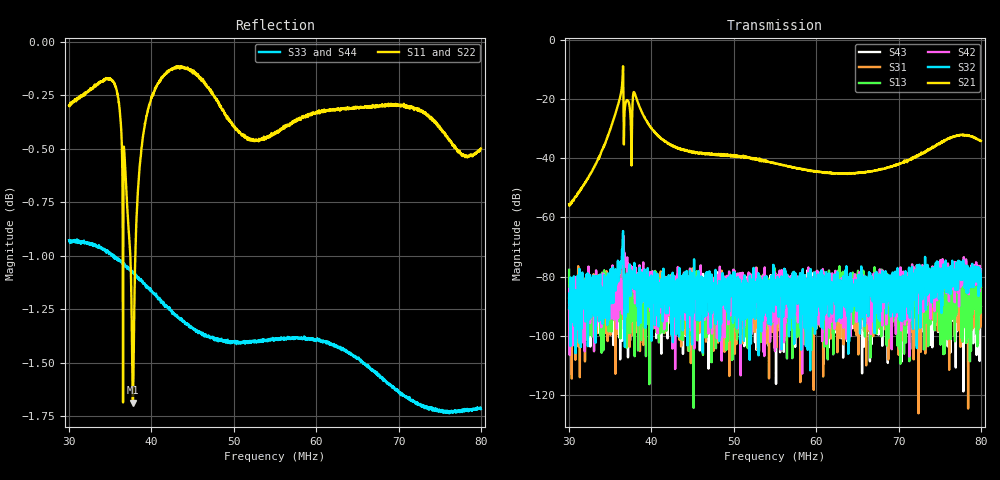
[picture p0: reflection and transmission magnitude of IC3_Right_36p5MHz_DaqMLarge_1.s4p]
#  HZ  S  DB  R  50.00
! Rohde & Schwarz Vector Network Analyzer
! Rohde-Schwarz,ZNB8-4Port,1311601044102961,2.82
! Created: UTC 2/12/2019, 1:49:13 PM
! freq[Hz]  db:S11  ang:S11  db:S12  ang:S12  db:S13  ang:S13  db:S14  ang:S14
!  db:S21  ang:S21  db:S22  ang:S22  db:S23  ang:S23  db:S24  ang:S24
!  db:S31  ang:S31  db:S32  ang:S32  db:S33  ang:S33  db:S34  ang:S34
!  db:S41  ang:S41  db:S42  ang:S42  db:S43  ang:S43  db:S44  ang:S44
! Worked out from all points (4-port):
!   2001 points, 30 MHz to 80 MHz, reference 50 ohm
!   strongest paths, dB at 30 MHz, 42.5 MHz, 55 MHz, 67.5 MHz, 80 MHz:
!     S21: -55.5, -35.7, -41.8, -43.9, -34.2
!     S32: -90.7, -85.2, -81.4, -81.3, -83.0
!     S42: -88.8, -88.1, -105.1, -85.5, -77.5
!     S13: -77.6, -84.3, -85.7, -85.7, -83.4
!     S31: -87.0, -84.9, -85.4, -83.7, -93.5
!     S43: -91.0, -94.1, -94.9, -93.2, -89.9
!   lowest |S11| = -1.7 dB at 37.75 MHz (marker M1), VSWR 10.32, Z = 33.2 - j117 ohm
!   |S11| at or under -10 dB: nowhere
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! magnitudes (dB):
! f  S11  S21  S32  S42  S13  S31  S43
! 30 MHz  -0.3  -55.5  -90.7  -88.8  -77.6  -87.0  -91.0
! 33.83 MHz  -0.2  -38.8  -83.2  -88.0  -83.0  -95.1  -86.5
! 36.33 MHz  -0.4  -17.7  -75.8  -86.1  -83.2  -87.2  -85.5
! 37.75 MHz  -1.7  -19.3  -79.6  -80.9  -93.3  -99.7  -86.4
! 44 MHz  -0.1  -37.4  -83.3  -86.1  -80.7  -95.4  -88.7
! 61.08 MHz  -0.3  -45.0  -83.7  -83.1  -86.9  -87.5  -86.8
! 80 MHz  -0.5  -34.2  -83.0  -77.5  -83.4  -93.5  -89.9
